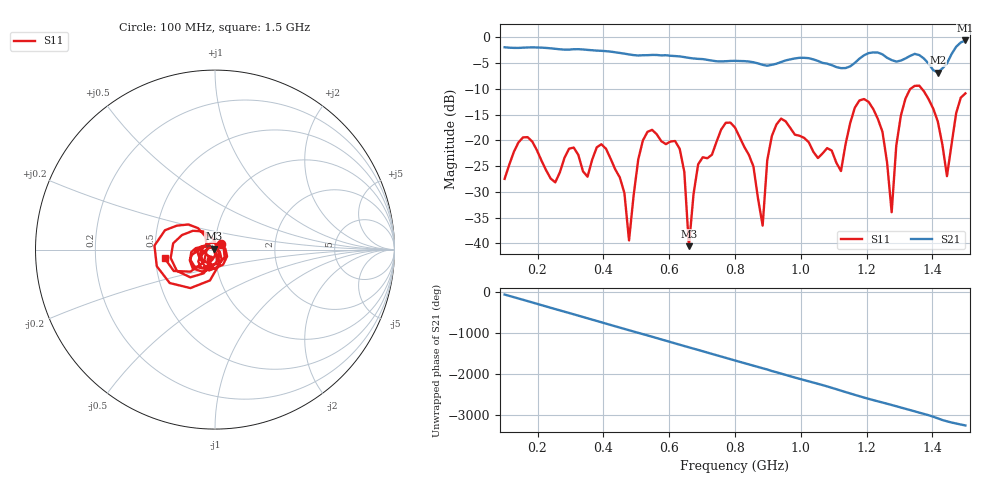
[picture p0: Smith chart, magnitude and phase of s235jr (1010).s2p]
! NanoVNA-App
! Date: 2025-09-25 15:12:02
! Start: 100MHz Stop: 1,5GHz Points: 101
! S-Parameter data: F S11 S21 S12 S22
# Hz S RI R 50
!  Frequency  S11_Real  S11_Imag  S21_Real  S21_Imag  S12_Real  S12_Imag  S22_Real  S22_Imag
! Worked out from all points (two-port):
!   101 points, 100 MHz to 1.5 GHz, reference 50 ohm
!   highest |S21| = -0.64 dB at 1.5 GHz (marker M1); lowest = -6.9 dB at 1.416 GHz (marker M2)
!   |S21| within 3 dB of the highest: start of sweep to 612 MHz; 1.189 GHz to 1.255 GHz (65.12 MHz wide, 5.33 % of centre) (the widest 2 of 4)
!   lowest |S11| = -40.5 dB at 660 MHz (marker M3), VSWR 1.02, Z = 49.3 + j0.57 ohm
!   |S11| at or under -10 dB: start of sweep to 1.334 GHz; 1.368 GHz to end of sweep
!   S12 and S22 are empty: the file has one direction only
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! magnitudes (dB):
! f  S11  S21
! 100 MHz  -27.5  -2.0
! 156 MHz  -19.4  -2.0
! 338 MHz  -26.0  -2.4
! 408 MHz  -21.6  -2.7
! 478 MHz  -39.4  -3.3
! 520 MHz  -20.1  -3.5
! 576 MHz  -20.2  -3.5
! 632 MHz  -21.7  -3.7
! 660 MHz  -40.5  -4.0
! 688 MHz  -24.7  -4.2
! 800 MHz  -17.5  -4.6
! 884 MHz  -36.5  -5.4
! 926 MHz  -16.9  -5.2
! 1.038 GHz  -22.2  -4.3
! 1.122 GHz  -26.0  -6.0
! 1.206 GHz  -12.6  -3.1
! 1.248 GHz  -18.3  -3.3
! 1.276 GHz  -33.9  -4.4
! 1.332 GHz  -10.1  -3.6
! 1.416 GHz  -16.3  -6.9
! 1.444 GHz  -26.9  -5.1
! 1.5 GHz  -10.9  -0.6
